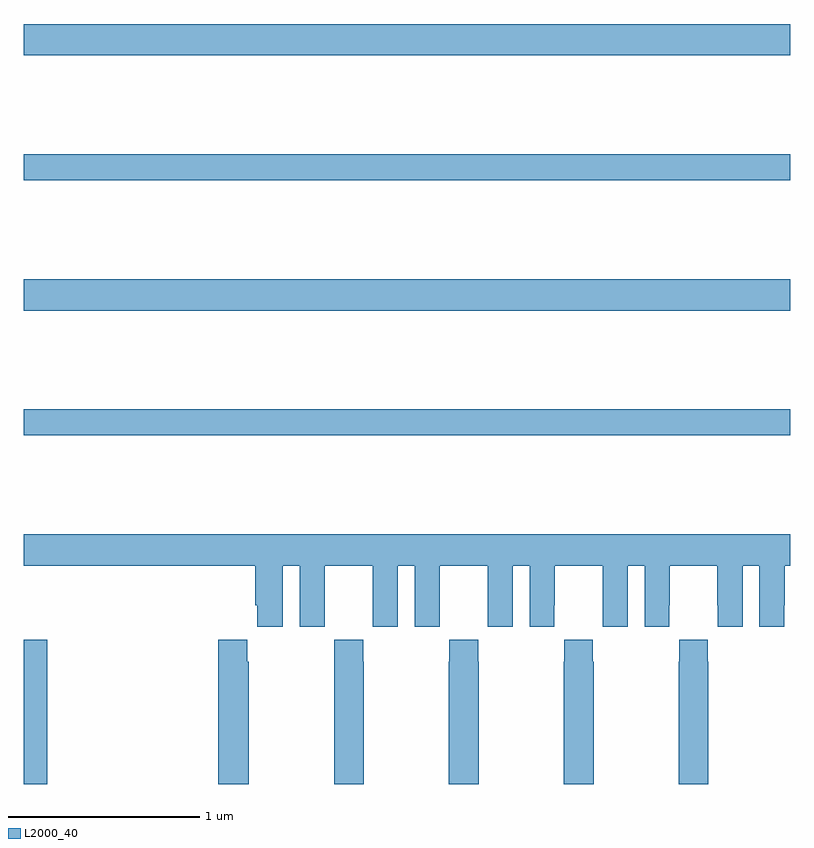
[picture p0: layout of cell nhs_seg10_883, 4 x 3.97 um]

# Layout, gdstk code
import gdstk
lib = gdstk.Library(unit=1e-6, precision=1e-09)
def R(c, l, rs):  # rectangles x0, y0, x1, y1
    for r in rs: c.add(gdstk.rectangle(r[:2], r[2:], *l))
def P(c, l, *ps):  # polygons
    for p in ps: c.add(gdstk.Polygon(p, *l))
L2000_40 = (2000, 40)

nhs_seg10_883 = lib.new_cell('nhs_seg10_883')
R(nhs_seg10_883, L2000_40, [(155,1308.5,155.123,1309.252), (155,1310.32,159,1310.456), (155,1310.972,159,1311.136), (155,1311.652,159,1311.788), (155,1312.304,159,1312.468)])
P(nhs_seg10_883, L2000_40, [(155,1309.64),(156.209,1309.64),(156.209,1309.432),(156.218,1309.432),(156.218,1309.32),(156.352,1309.32),(156.352,1309.64),(156.44,1309.64),(156.44,1309.32),(156.57,1309.32),(156.57,1309.432),(156.571,1309.432),(156.571,1309.64),(156.821,1309.64),(156.821,1309.432),(156.822,1309.432),(156.822,1309.32),(156.952,1309.32),(156.952,1309.64),(157.04,1309.64),(157.04,1309.32),(157.17,1309.32),(157.17,1309.432),(157.171,1309.432),(157.171,1309.64),(157.421,1309.64),(157.421,1309.432),(157.422,1309.432),(157.422,1309.32),(157.552,1309.32),(157.552,1309.64),(157.64,1309.64),(157.64,1309.32),(157.77,1309.32),(157.77,1309.432),(157.771,1309.432),(157.771,1309.64),(158.021,1309.64),(158.021,1309.432),(158.022,1309.432),(158.022,1309.32),(158.152,1309.32),(158.152,1309.64),(158.24,1309.64),(158.24,1309.32),(158.37,1309.32),(158.37,1309.432),(158.371,1309.432),(158.371,1309.64),(158.621,1309.64),(158.621,1309.432),(158.622,1309.432),(158.622,1309.32),(158.752,1309.32),(158.752,1309.64),(158.84,1309.64),(158.84,1309.32),(158.97,1309.32),(158.97,1309.432),(158.971,1309.432),(158.971,1309.64),(159,1309.64),(159,1309.804),(155,1309.804)],
  [(156.774,1309.139),(156.771,1309.139),(156.771,1309.252),(156.621,1309.252),(156.621,1309.139),(156.619,1309.139),(156.619,1308.5),(156.774,1308.5)],
  [(156.174,1309.139),(156.167,1309.139),(156.167,1309.252),(156.014,1309.252),(156.014,1308.5),(156.174,1308.5)],
  [(157.374,1309.139),(157.371,1309.139),(157.371,1309.252),(157.221,1309.252),(157.221,1309.139),(157.219,1309.139),(157.219,1308.5),(157.374,1308.5)],
  [(157.974,1309.139),(157.971,1309.139),(157.971,1309.252),(157.821,1309.252),(157.821,1309.139),(157.819,1309.139),(157.819,1308.5),(157.974,1308.5)],
  [(158.574,1309.139),(158.571,1309.139),(158.571,1309.252),(158.421,1309.252),(158.421,1309.139),(158.419,1309.139),(158.419,1308.5),(158.574,1308.5)])

lib.write_gds('nhs_seg10_883.gds')
